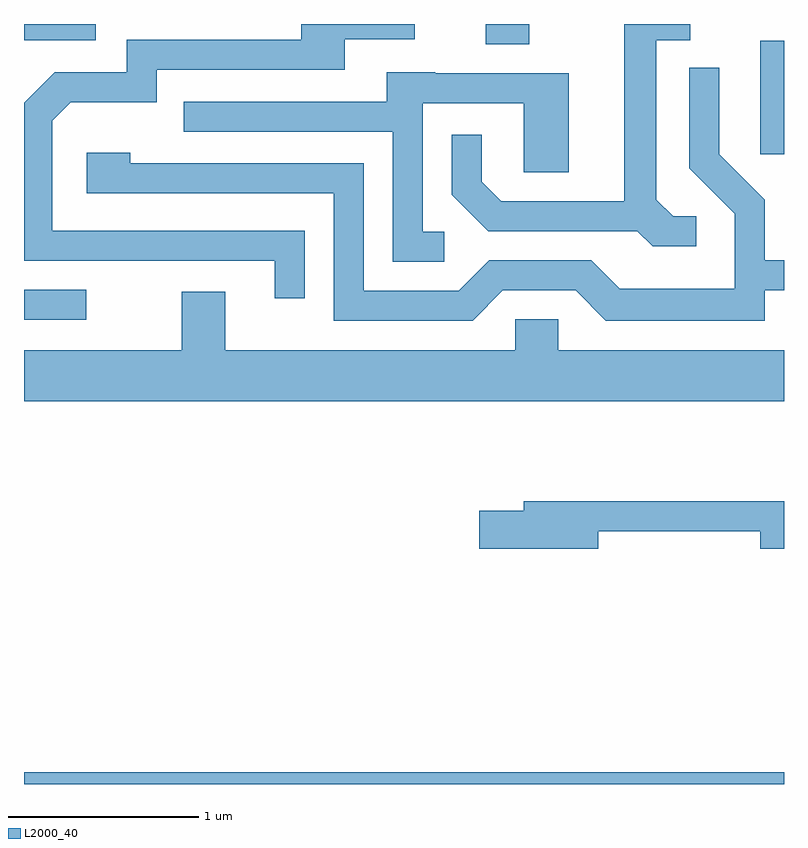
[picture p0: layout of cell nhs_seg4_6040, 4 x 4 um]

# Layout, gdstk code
import gdstk
lib = gdstk.Library(unit=1e-6, precision=1e-09)
def R(c, l, rs):  # rectangles x0, y0, x1, y1
    for r in rs: c.add(gdstk.rectangle(r[:2], r[2:], *l))
def P(c, l, *ps):  # polygons
    for p in ps: c.add(gdstk.Polygon(p, *l))
L2000_40 = (2000, 40)

nhs_seg4_6040 = lib.new_cell('nhs_seg4_6040')
R(nhs_seg4_6040, L2000_40, [(361.611,1365.982,365.611,1366.044), (361.611,1368.426,361.938,1368.584), (365.486,1369.296,365.611,1369.894), (364.041,1369.876,364.269,1369.982), (361.611,1369.896,361.988,1369.982)])
P(nhs_seg4_6040, L2000_40, [(365.148,1368.969),(365.027,1368.969),(364.939,1369.057),(364.939,1369.896),(365.118,1369.896),(365.118,1369.982),(364.771,1369.982),(364.771,1369.049),(364.122,1369.049),(364.019,1369.152),(364.019,1369.398),(363.861,1369.398),(363.861,1369.084),(364.054,1368.891),(364.839,1368.891),(364.919,1368.811),(365.148,1368.811)],
  [(363.089,1368.894),(361.759,1368.894),(361.759,1369.474),(361.857,1369.571),(362.309,1369.571),(362.309,1369.741),(363.299,1369.741),(363.299,1369.901),(363.668,1369.901),(363.668,1369.982),(363.071,1369.982),(363.071,1369.899),(362.151,1369.899),(362.151,1369.729),(361.774,1369.729),(361.611,1369.567),(361.611,1368.736),(362.931,1368.736),(362.931,1368.538),(363.089,1368.538)],
  [(364.132,1368.581),(364.514,1368.581),(364.674,1368.421),(365.509,1368.421),(365.509,1368.581),(365.611,1368.581),(365.611,1368.739),(365.509,1368.739),(365.509,1369.057),(365.269,1369.297),(365.269,1369.753),(365.111,1369.753),(365.111,1369.224),(365.351,1368.984),(365.351,1368.589),(364.747,1368.589),(364.597,1368.739),(364.059,1368.739),(363.899,1368.579),(363.399,1368.579),(363.399,1369.249),(362.169,1369.249),(362.169,1369.304),(361.941,1369.304),(361.941,1369.091),(363.241,1369.091),(363.241,1368.421),(363.972,1368.421)],
  [(363.823,1368.889),(363.709,1368.889),(363.709,1369.566),(364.241,1369.566),(364.241,1369.201),(364.479,1369.201),(364.479,1369.724),(363.775,1369.724),(363.775,1369.729),(363.521,1369.729),(363.521,1369.574),(362.453,1369.574),(362.453,1369.416),(363.551,1369.416),(363.551,1368.731),(363.823,1368.731)],
  [(365.611,1368.264),(364.424,1368.264),(364.424,1368.429),(364.196,1368.429),(364.196,1368.264),(362.669,1368.264),(362.669,1368.574),(362.441,1368.574),(362.441,1368.264),(361.611,1368.264),(361.611,1367.996),(365.611,1367.996)],
  [(364.634,1367.311),(365.486,1367.311),(365.486,1367.221),(365.611,1367.221),(365.611,1367.469),(364.241,1367.469),(364.241,1367.419),(364.006,1367.419),(364.006,1367.221),(364.634,1367.221)])

lib.write_gds('nhs_seg4_6040.gds')
